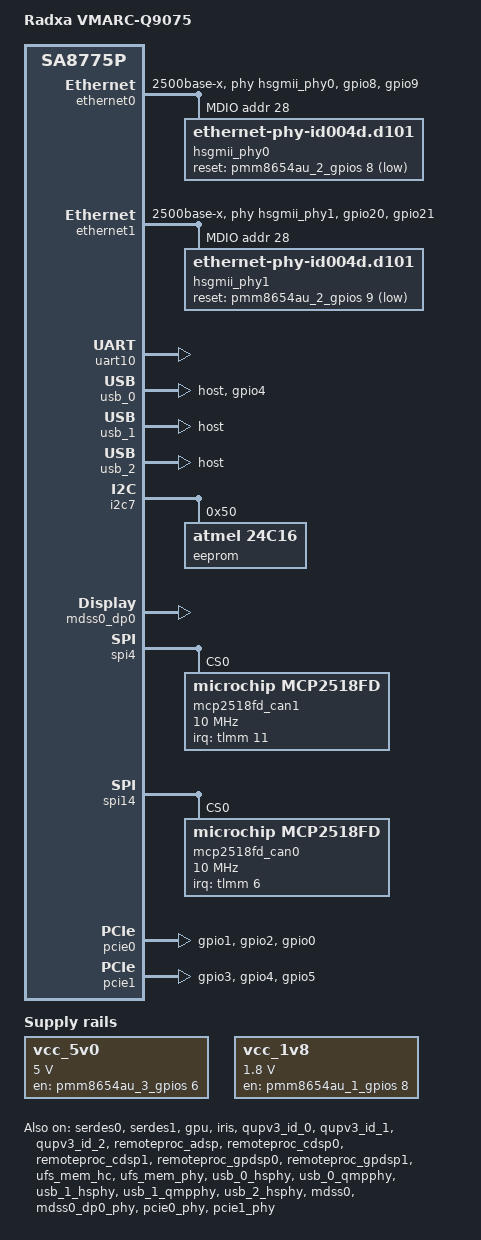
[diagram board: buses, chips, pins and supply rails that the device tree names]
// SPDX-License-Identifier: BSD-3-Clause
/*
 * Copyright (c) 2024, 2025, Qualcomm Innovation Center, Inc. All rights reserved.
 * Copyright (c) 2026 Radxa Computer (Shenzhen) Co., Ltd.
 */
/dts-v1/;

#include <dt-bindings/gpio/gpio.h>
#include <dt-bindings/leds/common.h>
#include <dt-bindings/pwm/pwm.h>
#include <dt-bindings/sound/qcom,q6afe.h>
#include <dt-bindings/regulator/qcom,rpmh-regulator.h>

#include "lemans.dtsi"
#include "lemans-pmics.dtsi"

/ {
	model = "Radxa VMARC-Q9075";
	compatible = "radxa,vmarc-q9075", "qcom,qcs9075", "qcom,sa8775p";

	aliases {
		ethernet0 = &ethernet0;
		ethernet1 = &ethernet1;
		i2c0 = &i2c0;
		i2c1 = &i2c1;
		i2c2 = &i2c2;
		i2c3 = &i2c3;
		i2c4 = &i2c4;
		i2c5 = &i2c5;
		i2c7 = &i2c7;
		i2c8 = &i2c8;
		i2c9 = &i2c9;
		i2c10 = &i2c10;
		i2c11 = &i2c11;
		i2c12 = &i2c12;
		i2c13 = &i2c13;
		i2c14 = &i2c14;
		i2c15 = &i2c15;
		i2c16 = &i2c16;
		i2c17 = &i2c17;
		i2c18 = &i2c18;
		i2c19 = &i2c19;
		i2c20 = &i2c20;
		i2c21 = &i2c21;
		i2c22 = &cci0_i2c0;
		i2c23 = &cci0_i2c1;
		i2c24 = &cci1_i2c0;
		i2c25 = &cci1_i2c1;
		i2c26 = &cci2_i2c0;
		i2c27 = &cci2_i2c1;
		i2c28 = &cci3_i2c0;
		i2c29 = &cci3_i2c1;
		spi0 = &spi0;
		spi1 = &spi1;
		spi2 = &spi2;
		spi3 = &spi3;
		spi4 = &spi4;
		spi5 = &spi5;
		spi7 = &spi7;
		spi8 = &spi8;
		spi9 = &spi9;
		spi10 = &spi10;
		spi11 = &spi11;
		spi12 = &spi12;
		spi14 = &spi14;
		spi15 = &spi15;
		spi16 = &spi16;
		spi17 = &spi17;
		spi18 = &spi18;
		spi19 = &spi19;
		spi20 = &spi20;
		serial0 = &uart10;
		ufshc1 = &ufs_mem_hc;
	};

	chosen {
		stdout-path = "serial0:115200n8";
	};

	vcc_5v0: vcc-5v0-regulator {
		compatible = "regulator-fixed";
		regulator-name = "vcc_5v0";
		gpio = <&pmm8654au_3_gpios 6 GPIO_ACTIVE_HIGH>;
		pinctrl-names = "default";
		pinctrl-0 = <&pmg_gpio_6_vreg_5v_en>;
		regulator-min-microvolt = <5000000>;
		regulator-max-microvolt = <5000000>;
		regulator-boot-on;
		enable-active-high;
		regulator-always-on;
	};

	vcc_1v8: vcc-1v8-regulator {
		compatible = "regulator-fixed";
		regulator-name = "vcc_1v8";
		gpio = <&pmm8654au_1_gpios 8 GPIO_ACTIVE_HIGH>;
		enable-active-high;
		pinctrl-names = "default";
		pinctrl-0 = <&pmc_gpio_8_eth_pwr_en>;
		regulator-min-microvolt = <1800000>;
		regulator-max-microvolt = <1800000>;
		regulator-boot-on;
		regulator-always-on;
	};
};

&apps_rsc {
	regulators-0 {
		compatible = "qcom,pmm8654au-rpmh-regulators";
		qcom,pmic-id = "a";

		vreg_s4a: smps4 {
			regulator-name = "vreg_s4a";
			regulator-min-microvolt = <1800000>;
			regulator-max-microvolt = <1816000>;
			regulator-initial-mode = <RPMH_REGULATOR_MODE_HPM>;
		};

		vreg_s5a: smps5 {
			regulator-name = "vreg_s5a";
			regulator-min-microvolt = <1850000>;
			regulator-max-microvolt = <1996000>;
			regulator-initial-mode = <RPMH_REGULATOR_MODE_HPM>;
		};

		vreg_s9a: smps9 {
			regulator-name = "vreg_s9a";
			regulator-min-microvolt = <535000>;
			regulator-max-microvolt = <1120000>;
			regulator-initial-mode = <RPMH_REGULATOR_MODE_HPM>;
		};

		vreg_l4a: ldo4 {
			regulator-name = "vreg_l4a";
			regulator-min-microvolt = <788000>;
			regulator-max-microvolt = <1050000>;
			regulator-initial-mode = <RPMH_REGULATOR_MODE_HPM>;
			regulator-allow-set-load;
			regulator-allowed-modes = <RPMH_REGULATOR_MODE_LPM
						   RPMH_REGULATOR_MODE_HPM>;
		};

		vreg_l5a: ldo5 {
			regulator-name = "vreg_l5a";
			regulator-min-microvolt = <870000>;
			regulator-max-microvolt = <950000>;
			regulator-initial-mode = <RPMH_REGULATOR_MODE_HPM>;
			regulator-allow-set-load;
			regulator-allowed-modes = <RPMH_REGULATOR_MODE_LPM
						   RPMH_REGULATOR_MODE_HPM>;
		};

		vreg_l6a: ldo6 {
			regulator-name = "vreg_l6a";
			regulator-min-microvolt = <870000>;
			regulator-max-microvolt = <970000>;
			regulator-initial-mode = <RPMH_REGULATOR_MODE_HPM>;
			regulator-allow-set-load;
			regulator-allowed-modes = <RPMH_REGULATOR_MODE_LPM
						   RPMH_REGULATOR_MODE_HPM>;
		};

		vreg_l7a: ldo7 {
			regulator-name = "vreg_l7a";
			regulator-min-microvolt = <720000>;
			regulator-max-microvolt = <950000>;
			regulator-initial-mode = <RPMH_REGULATOR_MODE_HPM>;
			regulator-allow-set-load;
			regulator-allowed-modes = <RPMH_REGULATOR_MODE_LPM
						   RPMH_REGULATOR_MODE_HPM>;
		};

		vreg_l8a: ldo8 {
			regulator-name = "vreg_l8a";
			regulator-min-microvolt = <2504000>;
			regulator-max-microvolt = <3300000>;
			regulator-initial-mode = <RPMH_REGULATOR_MODE_HPM>;
			regulator-allow-set-load;
			regulator-allowed-modes = <RPMH_REGULATOR_MODE_LPM
						   RPMH_REGULATOR_MODE_HPM>;
		};

		vreg_l9a: ldo9 {
			regulator-name = "vreg_l9a";
			regulator-min-microvolt = <2970000>;
			regulator-max-microvolt = <3544000>;
			regulator-initial-mode = <RPMH_REGULATOR_MODE_HPM>;
			regulator-allow-set-load;
			regulator-allowed-modes = <RPMH_REGULATOR_MODE_LPM
						   RPMH_REGULATOR_MODE_HPM>;
		};
	};

	regulators-1 {
		compatible = "qcom,pmm8654au-rpmh-regulators";
		qcom,pmic-id = "c";

		vreg_l1c: ldo1 {
			regulator-name = "vreg_l1c";
			regulator-min-microvolt = <1140000>;
			regulator-max-microvolt = <1260000>;
			regulator-initial-mode = <RPMH_REGULATOR_MODE_HPM>;
			regulator-allow-set-load;
			regulator-allowed-modes = <RPMH_REGULATOR_MODE_LPM
						   RPMH_REGULATOR_MODE_HPM>;
		};

		vreg_l2c: ldo2 {
			regulator-name = "vreg_l2c";
			regulator-min-microvolt = <900000>;
			regulator-max-microvolt = <1100000>;
			regulator-initial-mode = <RPMH_REGULATOR_MODE_HPM>;
			regulator-allow-set-load;
			regulator-allowed-modes = <RPMH_REGULATOR_MODE_LPM
						   RPMH_REGULATOR_MODE_HPM>;
		};

		vreg_l3c: ldo3 {
			regulator-name = "vreg_l3c";
			regulator-min-microvolt = <1100000>;
			regulator-max-microvolt = <1300000>;
			regulator-initial-mode = <RPMH_REGULATOR_MODE_HPM>;
			regulator-allow-set-load;
			regulator-allowed-modes = <RPMH_REGULATOR_MODE_LPM
						   RPMH_REGULATOR_MODE_HPM>;
		};

		vreg_l4c: ldo4 {
			regulator-name = "vreg_l4c";
			regulator-min-microvolt = <1200000>;
			regulator-max-microvolt = <1200000>;
			regulator-initial-mode = <RPMH_REGULATOR_MODE_HPM>;
			regulator-allow-set-load;
			regulator-allowed-modes = <RPMH_REGULATOR_MODE_LPM
						   RPMH_REGULATOR_MODE_HPM>;
		};

		vreg_l5c: ldo5 {
			regulator-name = "vreg_l5c";
			regulator-min-microvolt = <1100000>;
			regulator-max-microvolt = <1300000>;
			regulator-initial-mode = <RPMH_REGULATOR_MODE_HPM>;
			regulator-allow-set-load;
			regulator-allowed-modes = <RPMH_REGULATOR_MODE_LPM
						   RPMH_REGULATOR_MODE_HPM>;
		};

		vreg_l6c: ldo6 {
			regulator-name = "vreg_l6c";
			regulator-min-microvolt = <1620000>;
			regulator-max-microvolt = <1980000>;
			regulator-initial-mode = <RPMH_REGULATOR_MODE_HPM>;
			regulator-allow-set-load;
			regulator-allowed-modes = <RPMH_REGULATOR_MODE_LPM
						   RPMH_REGULATOR_MODE_HPM>;
		};

		vreg_l7c: ldo7 {
			regulator-name = "vreg_l7c";
			regulator-min-microvolt = <1620000>;
			regulator-max-microvolt = <2000000>;
			regulator-initial-mode = <RPMH_REGULATOR_MODE_HPM>;
			regulator-allow-set-load;
			regulator-allowed-modes = <RPMH_REGULATOR_MODE_LPM
						   RPMH_REGULATOR_MODE_HPM>;
		};

		vreg_l8c: ldo8 {
			regulator-name = "vreg_l8c";
			regulator-min-microvolt = <2400000>;
			regulator-max-microvolt = <3300000>;
			regulator-initial-mode = <RPMH_REGULATOR_MODE_HPM>;
			regulator-allow-set-load;
			regulator-allowed-modes = <RPMH_REGULATOR_MODE_LPM
						   RPMH_REGULATOR_MODE_HPM>;
		};

		vreg_l9c: ldo9 {
			regulator-name = "vreg_l9c";
			regulator-min-microvolt = <1650000>;
			regulator-max-microvolt = <2700000>;
			regulator-initial-mode = <RPMH_REGULATOR_MODE_HPM>;
			regulator-allow-set-load;
			regulator-allowed-modes = <RPMH_REGULATOR_MODE_LPM
						   RPMH_REGULATOR_MODE_HPM>;
		};
	};

	regulators-2 {
		compatible = "qcom,pmm8654au-rpmh-regulators";
		qcom,pmic-id = "e";

		vreg_s4e: smps4 {
			regulator-name = "vreg_s4e";
			regulator-min-microvolt = <970000>;
			regulator-max-microvolt = <1520000>;
			regulator-initial-mode = <RPMH_REGULATOR_MODE_HPM>;
		};

		vreg_s7e: smps7 {
			regulator-name = "vreg_s7e";
			regulator-min-microvolt = <1010000>;
			regulator-max-microvolt = <1170000>;
			regulator-initial-mode = <RPMH_REGULATOR_MODE_HPM>;
		};

		vreg_s9e: smps9 {
			regulator-name = "vreg_s9e";
			regulator-min-microvolt = <300000>;
			regulator-max-microvolt = <570000>;
			regulator-initial-mode = <RPMH_REGULATOR_MODE_HPM>;
		};

		vreg_l6e: ldo6 {
			regulator-name = "vreg_l6e";
			regulator-min-microvolt = <1280000>;
			regulator-max-microvolt = <1450000>;
			regulator-initial-mode = <RPMH_REGULATOR_MODE_HPM>;
			regulator-allow-set-load;
			regulator-allowed-modes = <RPMH_REGULATOR_MODE_LPM
						   RPMH_REGULATOR_MODE_HPM>;
		};

		vreg_l8e: ldo8 {
			regulator-name = "vreg_l8e";
			regulator-min-microvolt = <1800000>;
			regulator-max-microvolt = <1950000>;
			regulator-initial-mode = <RPMH_REGULATOR_MODE_HPM>;
			regulator-allow-set-load;
			regulator-allowed-modes = <RPMH_REGULATOR_MODE_LPM
						   RPMH_REGULATOR_MODE_HPM>;
		};
	};
};

&ethernet0 {
	phy-handle = <&hsgmii_phy0>;
	phy-mode = "2500base-x";
	pinctrl-0 = <&ethernet0_default>;
	pinctrl-names = "default";
	snps,mtl-rx-config = <&mtl_rx_setup>;
	snps,mtl-tx-config = <&mtl_tx_setup>;
	status = "okay";

	mdio {
		compatible = "snps,dwmac-mdio";
		#address-cells = <1>;
		#size-cells = <0>;

		hsgmii_phy0: ethernet-phy@1c {
			compatible = "ethernet-phy-id004d.d101";
			reg = <0x1c>;
			reset-gpios = <&pmm8654au_2_gpios 8 GPIO_ACTIVE_LOW>;
			reset-assert-us = <11000>;
			reset-deassert-us = <70000>;
		};
	};

	mtl_rx_setup: rx-queues-config {
		snps,rx-queues-to-use = <4>;
		snps,rx-sched-sp;

		queue0 {
			snps,dcb-algorithm;
			snps,map-to-dma-channel = <0x0>;
			snps,route-up;
			snps,priority = <0x1>;
		};

		queue1 {
			snps,dcb-algorithm;
			snps,map-to-dma-channel = <0x1>;
			snps,route-ptp;
		};

		queue2 {
			snps,avb-algorithm;
			snps,map-to-dma-channel = <0x2>;
			snps,route-avcp;
		};

		queue3 {
			snps,avb-algorithm;
			snps,map-to-dma-channel = <0x3>;
			snps,priority = <0xc>;
		};
	};

	mtl_tx_setup: tx-queues-config {
		snps,tx-queues-to-use = <4>;

		queue0 {
			snps,dcb-algorithm;
		};

		queue1 {
			snps,dcb-algorithm;
		};

		queue2 {
			snps,avb-algorithm;
			snps,send_slope = <0x1000>;
			snps,idle_slope = <0x1000>;
			snps,high_credit = <0x3e800>;
			snps,low_credit = <0xffc18000>;
		};

		queue3 {
			snps,avb-algorithm;
			snps,send_slope = <0x1000>;
			snps,idle_slope = <0x1000>;
			snps,high_credit = <0x3e800>;
			snps,low_credit = <0xffc18000>;
		};
	};
};

&ethernet1 {
	phy-handle = <&hsgmii_phy1>;
	phy-mode = "2500base-x";
	pinctrl-0 = <&ethernet1_default>;
	pinctrl-names = "default";
	snps,mtl-rx-config = <&mtl_rx_setup1>;
	snps,mtl-tx-config = <&mtl_tx_setup1>;
	status = "okay";

	mdio {
		compatible = "snps,dwmac-mdio";
		#address-cells = <1>;
		#size-cells = <0>;

		hsgmii_phy1: ethernet-phy@1c {
			compatible = "ethernet-phy-id004d.d101";
			reg = <0x1c>;
			reset-gpios = <&pmm8654au_2_gpios 9 GPIO_ACTIVE_LOW>;
			reset-assert-us = <11000>;
			reset-deassert-us = <70000>;
		};
	};

	mtl_rx_setup1: rx-queues-config {
		snps,rx-queues-to-use = <4>;
		snps,rx-sched-sp;

		queue0 {
			snps,dcb-algorithm;
			snps,map-to-dma-channel = <0x0>;
			snps,route-up;
			snps,priority = <0x1>;
		};

		queue1 {
			snps,dcb-algorithm;
			snps,map-to-dma-channel = <0x1>;
			snps,route-ptp;
		};

		queue2 {
			snps,avb-algorithm;
			snps,map-to-dma-channel = <0x2>;
			snps,route-avcp;
		};

		queue3 {
			snps,avb-algorithm;
			snps,map-to-dma-channel = <0x3>;
			snps,priority = <0xc>;
		};
	};

	mtl_tx_setup1: tx-queues-config {
		snps,tx-queues-to-use = <4>;

		queue0 {
			snps,dcb-algorithm;
		};

		queue1 {
			snps,dcb-algorithm;
		};

		queue2 {
			snps,avb-algorithm;
			snps,send_slope = <0x1000>;
			snps,idle_slope = <0x1000>;
			snps,high_credit = <0x3e800>;
			snps,low_credit = <0xffc18000>;
		};

		queue3 {
			snps,avb-algorithm;
			snps,send_slope = <0x1000>;
			snps,idle_slope = <0x1000>;
			snps,high_credit = <0x3e800>;
			snps,low_credit = <0xffc18000>;
		};
	};
};

&serdes0 {
	phy-supply = <&vreg_l5a>;
	vdda-0p9-supply = <&vreg_l4a>;
	status = "okay";
};

&serdes1 {
	phy-supply = <&vreg_l5a>;
	vdda-0p9-supply = <&vreg_l4a>;
	status = "okay";
};

&gpi_dma0 {
	status = "okay";
};

&gpi_dma1 {
	status = "okay";
};

&gpi_dma2 {
	status = "okay";
};

&gpu {
	status = "okay";
};

&gpu_zap_shader {
	firmware-name = "qcom/sa8775p/a663_zap.mbn";
};

&iris {
	firmware-name = "qcom/vpu/vpu30_p4_s6_16mb.mbn";
	status = "okay";
};

&qupv3_id_0 {
	firmware-name = "qcom/sa8775p/qupv3fw.elf";
	status = "okay";
};

&qupv3_id_1 {
	firmware-name = "qcom/sa8775p/qupv3fw.elf";
	status = "okay";
};

&qupv3_id_2 {
	firmware-name = "qcom/sa8775p/qupv3fw.elf";
	status = "okay";
};

&remoteproc_adsp {
	firmware-name = "qcom/sa8775p/adsp.mbn";
	status = "okay";
};

&remoteproc_cdsp0 {
	firmware-name = "qcom/sa8775p/cdsp0.mbn";
	status = "okay";
};

&remoteproc_cdsp1 {
	firmware-name = "qcom/sa8775p/cdsp1.mbn";
	status = "okay";
};

&remoteproc_gpdsp0 {
	firmware-name = "qcom/sa8775p/gpdsp0.mbn";
	status = "okay";
};

&remoteproc_gpdsp1 {
	firmware-name = "qcom/sa8775p/gpdsp1.mbn";
	status = "okay";
};

&sleep_clk {
	clock-frequency = <32768>;
};

&uart10 {
	compatible = "qcom,geni-debug-uart";
	pinctrl-0 = <&qup_uart10_default>;
	pinctrl-names = "default";
	status = "okay";
};

&ufs_mem_hc {
	reset-gpios = <&tlmm 149 GPIO_ACTIVE_LOW>;
	vcc-supply = <&vreg_l8a>;
	vcc-max-microamp = <1100000>;
	vccq-supply = <&vreg_l4c>;
	vccq-max-microamp = <1200000>;
	status = "okay";
};

&ufs_mem_phy {
	vdda-phy-supply = <&vreg_l4a>;
	vdda-pll-supply = <&vreg_l1c>;
	status = "okay";
};

&usb_0 {
	pinctrl-names = "default";
	pinctrl-0 = <&pme_gpio_4_usb1_pwr_en>;
	dr_mode = "host";
	status = "okay";
};

&usb_0_hsphy {
	vdda-pll-supply = <&vreg_l7a>;
	vdda18-supply = <&vreg_l6c>;
	vdda33-supply = <&vreg_l9a>;
	status = "okay";
};

&usb_0_qmpphy {
	vdda-phy-supply = <&vreg_l1c>;
	vdda-pll-supply = <&vreg_l7a>;
	status = "okay";
};

&usb_1 {
	dr_mode = "host";
	status = "okay";
};

&usb_1_hsphy {
	vdda-pll-supply = <&vreg_l7a>;
	vdda18-supply = <&vreg_l6c>;
	vdda33-supply = <&vreg_l9a>;
	status = "okay";
};

&usb_1_qmpphy {
	vdda-phy-supply = <&vreg_l1c>;
	vdda-pll-supply = <&vreg_l7a>;
	status = "okay";
};

&usb_2 {
	dr_mode = "host";
	status = "okay";
};

&usb_2_hsphy {
	vdda-pll-supply = <&vreg_l7a>;
	vdda18-supply = <&vreg_l6c>;
	vdda33-supply = <&vreg_l9a>;
	status = "okay";
};

&xo_board_clk {
	clock-frequency = <38400000>;
};

&i2c7 {
	qcom,load-firmware;
	qcom,xfer-mode = <1>;
	pinctrl-names = "default";
	pinctrl-0 = <&qup_i2c7_default>;
	status = "okay";

	eeprom: eeprom@50 {
		compatible = "atmel,24c16";
		reg = <0x50>;
		pagesize = <16>;
		i2c_id = <7>;
	};
};

&mdss0 {
	status = "okay";
};

&mdss0_dp0 {
	pinctrl-0 = <&dp0_hot_plug_det>;
	pinctrl-names = "default";
	status = "okay";
};

&mdss0_dp0_out {
	data-lanes = <0 1 2 3>;
	link-frequencies = /bits/ 64 <1620000000 2700000000 5400000000 8100000000>;
};

&mdss0_dp0_phy {
	vdda-phy-supply = <&vreg_l1c>;
	vdda-pll-supply = <&vreg_l4a>;
	status = "okay";
};

&spi4 {
	qcom,load-firmware;
	qcom,xfer-mode = <1>;
	status = "okay";

	mcp2518fd_can1: can@0 {
		compatible = "microchip,mcp2518fd";
		reg = <0>;
		clock-frequency = <40000000>;
		spi-max-frequency = <10000000>;
		interrupt-names = "can1_irq";
		interrupts-extended = <&tlmm 11 IRQ_TYPE_LEVEL_LOW>;
		status = "okay";
	};
};

&spi14 {
	qcom,load-firmware;
	qcom,xfer-mode = <1>;
	status = "okay";

	mcp2518fd_can0: can@0 {
		compatible = "microchip,mcp2518fd";
		reg = <0>;
		clock-frequency = <40000000>;
		spi-max-frequency = <10000000>;
		interrupt-names = "can0_irq";
		interrupts-extended = <&tlmm 6 IRQ_TYPE_LEVEL_LOW>;
		status = "okay";
	};
};

&pcie0 {
	perst-gpios = <&tlmm 2 GPIO_ACTIVE_LOW>;
	wake-gpios = <&tlmm 0 GPIO_ACTIVE_HIGH>;
	pinctrl-0 = <&pcie0_default_state>;
	pinctrl-names = "default";
	status = "okay";
};

&pcie0_phy {
	vdda-phy-supply = <&vreg_l5a>;
	vdda-pll-supply = <&vreg_l1c>;
	status = "okay";
};

&pcie1 {
	perst-gpios = <&tlmm 4 GPIO_ACTIVE_LOW>;
	wake-gpios = <&tlmm 5 GPIO_ACTIVE_HIGH>;
	pinctrl-0 = <&pcie1_default_state>;
	pinctrl-names = "default";
	status = "okay";
};

&pcie1_phy {
	vdda-phy-supply = <&vreg_l5a>;
	vdda-pll-supply = <&vreg_l1c>;
	status = "okay";
};

&psci {
	reboot-mode {
		mode-bootloader = <0x10001 0x2>;
		mode-edl = <0 0x1>;
	};
};

&pmm8654au_1_gpios {

	pmc_gpio_8_eth_pwr_en: pmc-gpio-8-eth-pwr-en-state {
		pins = "gpio8";
		function = "normal";
		output-high;
		bias-pull-up;
	};
};

&pmm8654au_2_gpios {

	pme_gpio_4_usb1_pwr_en: pme-gpio-4-usb1-pwr-en-state {
		pins = "gpio4";
		function = "normal";
		output-high;
		bias-pull-up;
	};
};

&pmm8654au_3_gpios {

	pmg_gpio_6_vreg_5v_en: pmg-gpio-6-vreg-5v-en-state {
		pins = "gpio6";
		function = "normal";
		output-high;
		bias-pull-up;
	};
};

&tlmm {

	ethernet0_default: ethernet0-default-state {
		ethernet0_mdc: ethernet0-mdc-pins {
			pins = "gpio8";
			function = "emac0_mdc";
			drive-strength = <16>;
			bias-pull-up;
		};

		ethernet0_mdio: ethernet0-mdio-pins {
			pins = "gpio9";
			function = "emac0_mdio";
			drive-strength = <16>;
			bias-pull-up;
		};
	};

	ethernet1_default: ethernet1-default-state {
		ethernet1-mdc-pins {
			pins = "gpio20";
			function = "emac1_mdc";
			drive-strength = <16>;
			bias-pull-up;
		};

		ethernet1-mdio-pins {
			pins = "gpio21";
			function = "emac1_mdio";
			drive-strength = <16>;
			bias-pull-up;
		};
	};

	pcie0_default_state: pcie0-default-state {
		clkreq-pins {
			pins = "gpio1";
			function = "pcie0_clkreq";
			drive-strength = <2>;
			bias-pull-up;
		};

		perst-pins {
			pins = "gpio2";
			function = "gpio";
			drive-strength = <2>;
			bias-pull-up;
		};

		wake-pins {
			pins = "gpio0";
			function = "gpio";
			drive-strength = <2>;
			bias-pull-up;
		};
	};

	pcie1_default_state: pcie1-default-state {
		clkreq-pins {
			pins = "gpio3";
			function = "pcie1_clkreq";
			drive-strength = <2>;
			bias-pull-up;
		};

		perst-pins {
			pins = "gpio4";
			function = "gpio";
			drive-strength = <2>;
			bias-pull-up;
		};

		wake-pins {
			pins = "gpio5";
			function = "gpio";
			drive-strength = <2>;
			bias-pull-up;
		};
	};
};
